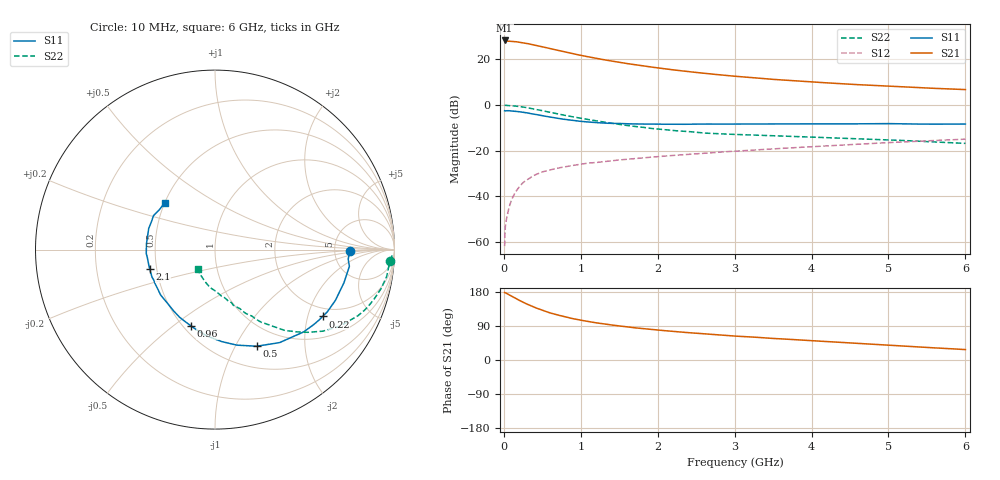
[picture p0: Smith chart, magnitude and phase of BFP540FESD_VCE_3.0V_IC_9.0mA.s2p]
! Infineon Technologies  Discrete & RF Semiconductors
! BFP540FESD
! VCE =  3.0 V,  IC =  9.0 mA
! Common Emitter S-Parameters:  Nov 2015
# GHz  S  MA  R  50
!  f  S11  S21  S12  S22
! GHz  MAG  ANG  MAG  ANG  MAG  ANG  MAG  ANG
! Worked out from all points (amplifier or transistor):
!   210 points, 10 MHz to 6 GHz, reference 50 ohm
!   highest |S21| = 28.3 dB at 10 MHz (marker M1)
!   |S21| within 3 dB of that: start of sweep to 532.4 MHz
!   unconditionally stable (mu >= 1): 2.295 GHz to end of sweep
!   at 185 MHz: K = 0.16, MSG = 32.1 dB, |S12| = -36.6 dB
!   at 1.52 GHz: K = 0.80, MSG = 21.4 dB, |S12| = -24.1 dB
!   at 6 GHz: K = 1.23, MAG = 8.0 dB, |S12| = -15.0 dB
!   S11 on the Smith chart (normalised r, x): 10 MHz: 7.00, -0.29; 220 MHz: 1.68, -2.49; 500 MHz: 0.75, -1.22; 960 MHz: 0.55, -0.58; 2.1 GHz: 0.46, -0.12; 6 GHz: 0.50, +0.31
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0.01  0.7503 -0.7  26.15 178.0  0.0008 87.4  0.9786 -3.6
0.02  0.7441 -4.2  25.38 177.4  0.0022 85.4  0.9877 -1.8
0.05  0.7545 -7.1  25.34 174.2  0.0042 84.5  0.9752 -4.4
0.15  0.7282 -22.8  24.69 163.1  0.0122 80.5  0.9508 -13.2
0.22  0.7062 -31.8  23.66 155.6  0.0175 74.5  0.9186 -18.9
0.3  0.6739 -42.9  22.52 147.6  0.0227 70.6  0.8768 -24.9
0.34  0.6531 -47.6  21.76 144.2  0.0252 68.7  0.8515 -27.4
0.4  0.6309 -55.2  20.78 138.8  0.029 66.4  0.8168 -31.5
0.5  0.5861 -66.7  19.1 131.0  0.034 62.0  0.7522 -37.2
0.6  0.5461 -77.1  17.36 124.3  0.0378 58.8  0.6928 -41.7
0.7  0.5134 -85.9  15.91 118.8  0.0412 56.5  0.642 -45.5
0.8  0.4831 -95.5  14.57 113.5  0.0444 55.5  0.5916 -49.4
0.96  0.4456 -107.4  12.73 106.7  0.0492 53.4  0.5273 -53.5
1.02  0.4357 -111.7  12.14 104.3  0.051 52.8  0.5061 -55.2
1.2  0.4121 -124.0  10.59 98.1  0.0548 51.4  0.4497 -59.5
1.4  0.3967 -134.9  9.253 92.4  0.0598 50.9  0.3985 -63.9
2.02  0.3802 -161.6  6.476 78.6  0.0741 49.4  0.2952 -75.7
2.1  0.3794 -163.5  6.229 77.3  0.076 49.3  0.2865 -76.7
3.1  0.3827 173.6  4.164 62.1  0.0994 47.3  0.2238 -92.4
4.1  0.387 161.2  3.139 49.8  0.1245 44.1  0.1953 -103.7
5.1  0.3888 149.7  2.549 37.9  0.1527 38.5  0.1696 -115.0
6  0.3831 137.0  2.185 27.5  0.1782 32.7  0.144 -129.7
